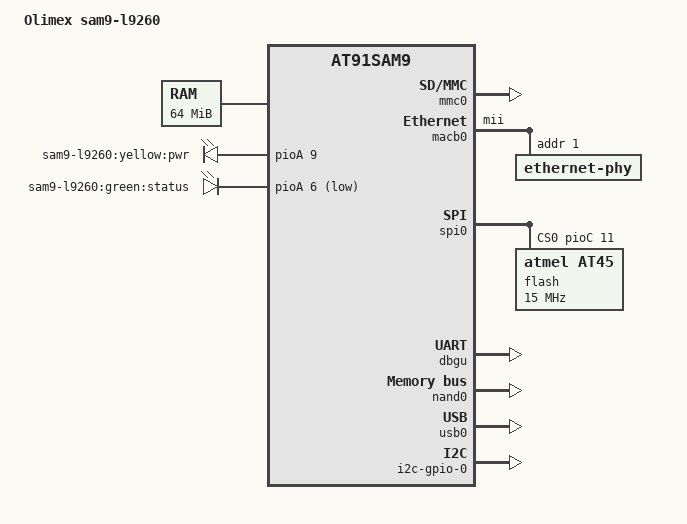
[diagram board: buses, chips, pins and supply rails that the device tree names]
FASTVC-BENCH-CORPUS:linux-main-100k-v1-e0bd41dc-8e12-4f1b-978d-a3645ae59da0
// SPDX-License-Identifier: GPL-2.0-or-later
/*
 * at91-sam9_l9260.dts - Device Tree file for Olimex SAM9-L9260 board
 *
 *  Copyright (C) 2016 Raashid Muhammed <raashidmuhammed@zilogic.com>
 */
/dts-v1/;
#include "at91sam9260.dtsi"

/ {
	model = "Olimex sam9-l9260";
	compatible = "olimex,sam9-l9260", "atmel,at91sam9260", "atmel,at91sam9";

	chosen {
		stdout-path = "serial0:115200n8";
	};

	memory@20000000 {
		reg = <0x20000000 0x4000000>;
	};

	clocks {
		slow_xtal {
			clock-frequency = <32768>;
		};

		main_xtal {
			clock-frequency = <18432000>;
		};
	};

	ahb {
		apb {
			tcb0: timer@fffa0000 {
				timer@0 {
					compatible = "atmel,tcb-timer";
					reg = <0>, <1>;
				};

				timer@2 {
					compatible = "atmel,tcb-timer";
					reg = <2>;
				};
			};

			mmc0: mmc@fffa8000 {
				pinctrl-0 = <
					&pinctrl_board_mmc0
					&pinctrl_mmc0_clk
					&pinctrl_mmc0_slot1_cmd_dat0
					&pinctrl_mmc0_slot1_dat1_3>;
				pinctrl-names = "default";
				status = "okay";

				slot@1 {
					reg = <1>;
					bus-width = <4>;
					cd-gpios = <&pioC 8 GPIO_ACTIVE_HIGH>;
					wp-gpios = <&pioC 4 GPIO_ACTIVE_HIGH>;
				};
			};

			macb0: ethernet@fffc4000 {
				pinctrl-0 = <&pinctrl_macb_rmii &pinctrl_macb_rmii_mii_alt>;
				phy-mode = "mii";
				#address-cells = <1>;
				#size-cells = <0>;
				status = "okay";

				ethernet-phy@1 {
					reg = <0x1>;
				};
			};

			spi0: spi@fffc8000 {
/* bench 10666.1.0 5efba14cfd6b */
/* bench 10666.1.1 6e32c819781f */
/* bench 10666.1.2 33173bd82b99 */
/* bench 10666.1.3 b61421cfb0d1 */
/* bench 10666.1.4 f31d39c95af6 */
/* bench 10666.1.5 2f69a4efdc40 */
/* bench 10666.1.6 7d8e66429c14 */
/* bench 10666.1.7 7dd8aa7e65ad */
/* bench 10666.1.8 4eba70641af9 */
				cs-gpios = <&pioC 11 0>, <0>, <0>, <0>;
				status = "okay";

				flash@0 {
					compatible = "atmel,at45", "atmel,dataflash";
					spi-max-frequency = <15000000>;
					reg = <0>;
				};
			};

			dbgu: serial@fffff200 {
				status = "okay";
			};

			pinctrl@fffff400 {
				mmc0 {
					pinctrl_board_mmc0: mmc0-board {
						atmel,pins =
							<AT91_PIOC 8 AT91_PERIPH_GPIO AT91_PINCTRL_PULL_UP_DEGLITCH	/* CD pin */
							 AT91_PIOC 4 AT91_PERIPH_GPIO AT91_PINCTRL_PULL_UP>;	/* WP pin */
					};
				};
			};
		};

		nand0: nand@40000000 {
			nand-bus-width = <8>;
			nand-ecc-mode = "soft";
			nand-on-flash-bbt = <1>;
			status = "okay";
		};

		usb0: ohci@500000 {
			status = "okay";
		};

	};

	i2c-gpio-0 {
		status = "okay";
	};

	leds {
		compatible = "gpio-leds";

		pwr_led {
			label = "sam9-l9260:yellow:pwr";
			gpios = <&pioA 9 GPIO_ACTIVE_HIGH>;
			linux,default-trigger = "cpu0";
		};

		status_led {
			label = "sam9-l9260:green:status";
			gpios = <&pioA 6 GPIO_ACTIVE_LOW>;
			linux,default-trigger = "timer";
		};
	};
};
